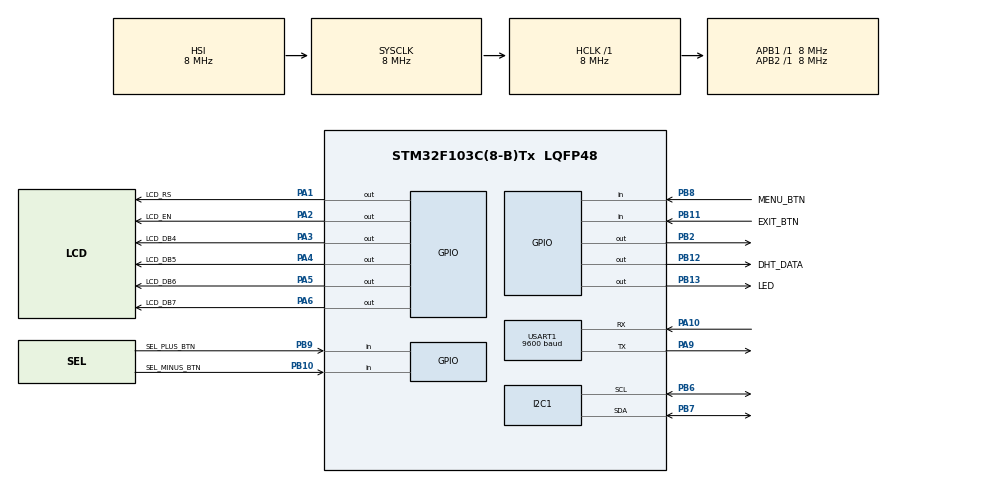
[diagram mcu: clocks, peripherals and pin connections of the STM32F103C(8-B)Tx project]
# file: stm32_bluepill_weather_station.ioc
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I2C1.I2C_Mode=I2C_Standard
I2C1.NoStretchMode=I2C_NOSTRETCH_DISABLE
Mcu.Family=STM32F1
Mcu.Name=STM32F103C(8-B)Tx
Mcu.Package=LQFP48
NVIC.PriorityGroup=NVIC_PRIORITYGROUP_4
PA1.GPIO_Label=LCD_RS
PA1.Signal=GPIO_Output
PA10.Mode=Asynchronous
PA10.Signal=USART1_RX
PA2.GPIO_Label=LCD_EN
PA2.Signal=GPIO_Output
PA3.GPIO_Label=LCD_DB4
PA3.Signal=GPIO_Output
PA4.GPIO_Label=LCD_DB5
PA4.Signal=GPIO_Output
PA5.GPIO_Label=LCD_DB6
PA5.Signal=GPIO_Output
PA6.GPIO_Label=LCD_DB7
PA6.Signal=GPIO_Output
PA9.Mode=Asynchronous
PA9.Signal=USART1_TX
PB10.GPIO_Label=SEL_MINUS_BTN
PB10.Signal=GPIO_Input
PB11.GPIO_Label=EXIT_BTN
PB11.Signal=GPIO_Input
PB12.GPIO_Label=DHT_DATA
PB12.Signal=GPIO_Output
PB13.GPIO_Label=LED
PB13.GPIO_ModeDefaultOutputPP=GPIO_MODE_OUTPUT_PP
PB13.GPIO_PuPd=GPIO_NOPULL
PB13.GPIO_Speed=GPIO_SPEED_FREQ_LOW
PB13.Signal=GPIO_Output
PB2.GPIO_Speed=GPIO_SPEED_FREQ_HIGH
PB2.Signal=GPIO_Output
PB6.Mode=I2C
PB6.Signal=I2C1_SCL
PB7.Mode=I2C
PB7.Signal=I2C1_SDA
PB8.GPIO_Label=MENU_BTN
PB8.GPIO_PuPd=GPIO_PULLDOWN
PB8.Signal=GPIO_Input
PB9.GPIO_Label=SEL_PLUS_BTN
PB9.GPIO_PuPd=GPIO_NOPULL
PB9.Signal=GPIO_Input
PD0-OSC_IN.Mode=HSE-External-Clock-Source
PD0-OSC_IN.Signal=RCC_OSC_IN
PD1-OSC_OUT.Mode=HSE-External-Clock-Source
PD1-OSC_OUT.Signal=RCC_OSC_OUT
ProjectManager.HeapSize=0x200
ProjectManager.StackSize=0x400
ProjectManager.TargetToolchain=STM32CubeIDE
RCC.AHBFreq_Value=8000000
RCC.APB1Freq_Value=8000000
RCC.APB1TimFreq_Value=8000000
RCC.APB2Freq_Value=8000000
RCC.APB2TimFreq_Value=8000000
RCC.HCLKFreq_Value=8000000
RCC.PLLMUL=RCC_PLL_MUL9
RCC.PLLSourceVirtual=RCC_PLLSOURCE_HSE
RCC.SYSCLKFreq_VALUE=8000000
RCC.USBFreq_Value=72000000
TIM1.Period=0xFFFF-1
TIM1.Prescaler=8-1
USART1.BaudRate=9600
USART1.VirtualMode=VM_ASYNC
VP_SYS_VS_ND.Mode=No_Debug
VP_TIM1_VS_ClockSourceINT.Mode=Internal
board=custom

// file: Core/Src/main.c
/* USER CODE BEGIN Header */
/**
  ******************************************************************************
  * @file           : main.c
  * @brief          : Main program body
  ******************************************************************************
  * @attention
  *
  * Copyright (c) 2024 STMicroelectronics.
  * All rights reserved.
  *
  * This software is licensed under terms that can be found in the LICENSE file
  * in the root directory of this software component.
  * If no LICENSE file comes with this software, it is provided AS-IS.
  *
  ******************************************************************************
  Цифрова метеостанція на мікроконтролері STM32F103C8T6, плата STM32 Blue Pill
  (Digital weather station based on STM32F103C8T6 microcontroller, STM32 Blue Pill board)
   */
/* USER CODE END Header */
#include "main.h"

/* USER CODE BEGIN Includes */
#include "lcd16x2.h"
#include "bmp180.h"
#include "dht.h"
#include "ds1307.h"
#include "stdio.h"
#include "stdlib.h"
#include "string.h"
/* USER CODE END Includes */

/* USER CODE BEGIN PD */
#define MENU_BTN_PIN 8
#define SEL_PLUS_BTN_PIN 9
#define SEL_MINUS_BTN_PIN 10
#define EXIT_BTN_PIN 11
#define INTERRUPT_PIN 8

const char *temp_units_1[] = {"\xb0\C", "\xb0\F", "K"};
const char *temp_units_2[] = {"\xdf\C", "\xdf\F", "K"};
const char *pres_units[] = {"mb", "mmHg", "inHg", "hPa"};
const char *days_of_week[7] = { "Sun", "Mon", "Tue", "Wed", "Thu", "Fri", "Sat" };

/* USER CODE END PD */

I2C_HandleTypeDef hi2c1;

TIM_HandleTypeDef htim1;

UART_HandleTypeDef huart1;

/* USER CODE BEGIN PV */
char buffer[200];
// створюємо значки температури, вологості і тиску для LCD
uint8_t temp_icon[] = { // lcd значок/іконка температури
  0x04, 0x0A, 0x0A, 0x0A, 0x0E, 0x1F, 0x1F, 0x0E
};

uint8_t smile_icon[] = {
  0x00, 0x0A, 0x0A, 0x00, 0x11, 0x0E, 0x00, 0x00
};

uint8_t clock_icon[] = {
  /*0x1F,
  0x15,
  0x0A,
  0x04,
  0x04,
  0x0A,
  0x15,
  0x1F*/
  0x1F, 0x15, 0x0A, 0x04, 0x0A, 0x15, 0x1F, 0x00
};
/* USER CODE END PV */

void SystemClock_Config(void);
static void MX_GPIO_Init(void);
static void MX_I2C1_Init(void);
static void MX_USART1_UART_Init(void);
static void MX_TIM1_Init(void);
/* USER CODE BEGIN PFP */
//bool isButtonPressed(int buttonPin);
void set_pressure_unit();
void set_temperature_unit();
void main_menu();

volatile bool main_menu_call = false;
int8_t pInd = 3, tInd = 0;

/* USER CODE END PFP */

/* USER CODE BEGIN 0 */
void delay_us(uint16_t us)
{
    htim1.Instance->CNT = 0;
    while (htim1.Instance->CNT < us);
}

void delay_ms(volatile uint16_t ms)
{
	while(ms > 0)
	{
		htim1.Instance->CNT = 0;
		ms--;
		while (htim1.Instance->CNT < 1000);
	}
}

// EXTI Line9 External Interrupt ISR Handler CallBackFun
void HAL_GPIO_EXTI_Callback(uint16_t GPIO_Pin)
{
    if (GPIO_Pin == GPIO_PIN_8) // If The INT Source Is EXTI Line9 (A9 Pin)
    {
    	HAL_GPIO_TogglePin(GPIOB, GPIO_PIN_13); // Toggle The Output (LED) Pin
    	//mainMenu();
    	//HAL_UART_Transmit(&huart1, "interrupt", 9, 10);
    	main_menu_call = true;
    	//HAL_NVIC_EnableIRQ(EXTI9_5_IRQn);
    	HAL_NVIC_DisableIRQ(EXTI9_5_IRQn);
    }
}

void set_time(void)
{
    //RTC_TimeTypeDef rtc_time;
    unsigned char i = 0, col = 2;
    const char *time_items[] = { "hh", "mm", "ss", "^^" };
    uint8_t hours = 0, minutes = 0, seconds = 0;
 	bool lcd_output_flag = true, ok = 0;

 	hours = ds1307_get_hour();
 	minutes = ds1307_get_minute();
 	seconds = ds1307_get_second();

    while (!ok)
    {
    	if (lcd_output_flag)
    	{
    		lcd16x2_clear();
    		lcd16x2_setCursor(0,2);
    		sprintf(buffer, "%02d:%02d:%02d OK", hours, minutes, seconds);
    	    lcd16x2_printf(buffer);
    	    lcd16x2_setCursor(1,col);
    	    lcd16x2_printf(time_items[i]);
    	    lcd_output_flag = false;
    	}

    	if (HAL_GPIO_ReadPin(SEL_PLUS_BTN_GPIO_Port, SEL_PLUS_BTN_Pin) == GPIO_PIN_SET)
    	{
    		switch (i)
			{
				case 0:
					if (hours == 23) hours = 0;
					else hours ++;
					break;
				case 1:
					if (minutes == 59) minutes = 0;
					else minutes ++;
				break;
				case 2:
					if (seconds == 59) seconds = 0;
					else seconds ++;
				break;
				case 3:
					ok = 1;
					break;
			}
			lcd_output_flag = true;
			HAL_Delay(200);
        }

    	if (HAL_GPIO_ReadPin(SEL_MINUS_BTN_GPIO_Port, SEL_MINUS_BTN_Pin) == GPIO_PIN_SET)
    	{
    		switch (i)
    		{
	       		case 0:
	        		if (hours == 0) hours = 23;
                    else hours --;
                    break;
                case 1:
                  	if (minutes == 0) minutes = 59;
                   	else minutes --;
                    	break;
                case 2:
                    if (seconds == 0) seconds = 59;
                    else seconds--;
                    break;
                case 3:
                    ok = 1;
                    break;
            }
	        lcd_output_flag = true;
	        HAL_Delay(200);
        }

    	if (HAL_GPIO_ReadPin(MENU_BTN_GPIO_Port, MENU_BTN_Pin) == GPIO_PIN_SET)
    	{
    		if (i == 3)
    		{
    		  i = 0; col = 2;
    		}
    		else
    		{
    			i++; col += 3;
    		}
    		lcd_output_flag = true;
    		HAL_Delay(200);
         }

         if (HAL_GPIO_ReadPin(EXIT_BTN_GPIO_Port, EXIT_BTN_Pin) == GPIO_PIN_SET)
         {
           HAL_Delay(200);
           return;
         }
    }

    ds1307_set_hour(hours);
    ds1307_set_minute(minutes);
    ds1307_set_second(seconds);
}

void set_date(void)
{
	//RTC_DateTypeDef rtc_date;
	const char *date_items[] = { "dd", "mm", "yy" , "wd", "^^"};
	uint8_t day = 0, month = 0, year = 0, dow = 0;
	uint8_t i = 0, col = 0;
	bool lcd_output_flag = true, ok = 0;

	day = ds1307_get_date();
	month = ds1307_get_month();
	year = ds1307_get_year();
	dow = ds1307_get_day_of_week()-1;

	while (!ok)
	{
		if (lcd_output_flag)
		{
			lcd16x2_clear();
			sprintf(buffer, "%02d/%02d/%02d %s OK", day, month, year, days_of_week[dow]);
			lcd16x2_setCursor(0,0);
			lcd16x2_printf(buffer);
			lcd16x2_setCursor(1,col);
			lcd16x2_printf(date_items[i]);
			lcd_output_flag = false;
		}

        if (HAL_GPIO_ReadPin(SEL_PLUS_BTN_GPIO_Port, SEL_PLUS_BTN_Pin) == GPIO_PIN_SET)
        {
           switch (i)
           {
              case 0:
            	  if (day == 31)
            		day = 1;
                  else day ++;
                  break;
              case 1:
                  if (month == 12) month = 1;
                  else month ++;
                  break;
              case 2:
                  if (year == 99) year = 0;
                  else year ++;
                  break;
              case 3:
            	  if (dow == 6) dow = 0;
            	  else dow ++;
            	  break;
              case 4:
            	  ok = 1; break;
           }
           lcd_output_flag = true;
           HAL_Delay(200);
        }

        if (HAL_GPIO_ReadPin(SEL_MINUS_BTN_GPIO_Port, SEL_MINUS_BTN_Pin) == GPIO_PIN_SET)
        {
        	switch (i)
        	{
        		case 0:
                   	if (day == 1) day = 31;
                    else day --;
                    break;
                case 1:
                    if (month == 1) month = 12;
                    else month --;
                    break;
                case 2:
                	if (year == 0) year = 99;
                	else year--;
                   	break;
                case 3:
                	if (dow == 0) dow = 6;
                	else dow --;
                	break;
                case 4: ok = 1; break;
        	}
        	lcd_output_flag = true;
        	HAL_Delay(200);
         }

        if (HAL_GPIO_ReadPin(MENU_BTN_GPIO_Port, MENU_BTN_Pin) == GPIO_PIN_SET)
        {
        	if (i == 4)
        	{
        		i = 0; col = 0;
        	}
        	else
        	{
        		if (i == 3) col += 4;
        	    else col += 3;
        		i++;
        	}
        	lcd_output_flag = true;
        	HAL_Delay(200);
     }

     if (HAL_GPIO_ReadPin(EXIT_BTN_GPIO_Port, EXIT_BTN_Pin) == GPIO_PIN_SET)
     {
    	 HAL_Delay(200);
    	 return;
     }

	}
	ds1307_set_date(day);
	ds1307_set_month(month);
	ds1307_set_year(2000+year);
	ds1307_set_day_of_week(dow+1);
}

void set_pressure_unit()
{

  const char pressure_units_menu_title[] = "PRESSURE UNITS";
  uint8_t col[] = {7, 6, 6, 6}; //{"mb", "mmHg", "inHg", "hPa"};
  uint8_t i = 0;
  bool lcd_output_flag = true;

  while(1)
  {
    if (lcd_output_flag)
    {
    	lcd16x2_clear();
    	lcd16x2_setCursor(0,1);
    	lcd16x2_printf(pressure_units_menu_title);
    	lcd16x2_setCursor(1,0);
    	lcd16x2_printf(">>");
    	lcd16x2_setCursor(1,14);
    	lcd16x2_printf("<<");
    	lcd16x2_setCursor(1,col[i]);
        lcd16x2_printf(pres_units[i]);
        lcd_output_flag = false;
    }
    if (HAL_GPIO_ReadPin(SEL_PLUS_BTN_GPIO_Port, SEL_PLUS_BTN_Pin) == GPIO_PIN_SET)
    {
      if (i == 3) i = 0;
      else i++;
      lcd_output_flag = true;
      HAL_Delay(200);
    }

    if (HAL_GPIO_ReadPin(SEL_MINUS_BTN_GPIO_Port, SEL_MINUS_BTN_Pin) == GPIO_PIN_SET)
    {
      if (i == 0) i = 3;
      else i--;
      lcd_output_flag = true;
      HAL_Delay(200);
    }

    if (HAL_GPIO_ReadPin(MENU_BTN_GPIO_Port, MENU_BTN_Pin) == GPIO_PIN_SET)
    {
      pInd = i;
      HAL_Delay(200);
      return;
    }
    if (HAL_GPIO_ReadPin(EXIT_BTN_GPIO_Port, EXIT_BTN_Pin) == GPIO_PIN_SET)
    {
      HAL_Delay(200);
      return;
    }
  }
}

void set_temperature_unit()
{

  const char temperature_units_menu_title[] = "TEMPERATURE UNIT";
  uint8_t i = 0;
  bool lcd_output_flag = true;

  while(1)
  {
    if (lcd_output_flag)
    {
      lcd16x2_clear();
      lcd16x2_setCursor(0,0);
      lcd16x2_printf(temperature_units_menu_title);
      lcd16x2_setCursor(1,0);
      lcd16x2_printf(">>");
      lcd16x2_setCursor(1,14);
      lcd16x2_printf("<<");
      lcd16x2_setCursor(1,7);
      lcd16x2_printf(temp_units_2[i]);
      lcd_output_flag = false;
    }
    if (HAL_GPIO_ReadPin(SEL_PLUS_BTN_GPIO_Port, SEL_PLUS_BTN_Pin) == GPIO_PIN_SET)
    {
      if (i == 2) i = 0;
      else i++;
      lcd_output_flag = true;
      HAL_Delay(200);
    }

    if (HAL_GPIO_ReadPin(SEL_MINUS_BTN_GPIO_Port, SEL_MINUS_BTN_Pin) == GPIO_PIN_SET)
    {
      if (i == 0) i = 2;
      else i--;
      lcd_output_flag = true;
      HAL_Delay(200);
    }

    if (HAL_GPIO_ReadPin(MENU_BTN_GPIO_Port, MENU_BTN_Pin) == GPIO_PIN_SET)
    {
      tInd = i;
      HAL_Delay(200);
      return;
    }

    if (HAL_GPIO_ReadPin(EXIT_BTN_GPIO_Port, EXIT_BTN_Pin) == GPIO_PIN_SET)
    {
      HAL_Delay(200);
      return;
    }
  }
}

void main_menu()
{
  char *main_menu_items[] = {"TEMPERATURE UNIT", " PRESSURE UNITS ", "    SET TIME    ", "    SET DATE    ", "      EXIT      "};
  char menu_title[] = "** MAIN MENU **";
  int i = 0;
  bool lcd_output_flag = false;

  lcd16x2_clear();
  lcd16x2_1stLine();
  lcd16x2_printf(menu_title);
  lcd16x2_2ndLine();
  lcd16x2_printf(main_menu_items[i]);

  while(1)
  {
    if (lcd_output_flag)
    {
	  lcd16x2_2ndLine();
	  lcd16x2_printf(main_menu_items[i]);
      lcd_output_flag = false;
    }
    if (HAL_GPIO_ReadPin(SEL_PLUS_BTN_GPIO_Port, SEL_PLUS_BTN_Pin) == GPIO_PIN_SET)
    {
      if(i == 4) i = 0;
      else i++;
      lcd_output_flag = true;
      HAL_Delay(200);
    }
    if (HAL_GPIO_ReadPin(SEL_MINUS_BTN_GPIO_Port, SEL_MINUS_BTN_Pin) == GPIO_PIN_SET)
    {
      if (i == 0) i = 4;
      else i--;
      lcd_output_flag = true;
      HAL_Delay(200);
    }
    if (HAL_GPIO_ReadPin(MENU_BTN_GPIO_Port, MENU_BTN_Pin) == GPIO_PIN_SET)
    {
      HAL_Delay(200);
      switch(i)
      {
        case 0: set_temperature_unit(); break;
        case 1: set_pressure_unit(); break;
        case 2: set_time(); break;
        case 3: set_date(); break;
        case 4: return;
        default: break;
      }
      lcd16x2_clear();
      lcd16x2_1stLine();
      lcd16x2_setCursor(0,0);
      lcd16x2_printf(menu_title);
      lcd16x2_2ndLine();
      lcd16x2_printf(main_menu_items[i]);
    }
    if (HAL_GPIO_ReadPin(EXIT_BTN_GPIO_Port, EXIT_BTN_Pin)== GPIO_PIN_SET)
    {
      HAL_Delay(200);
      return;
    }
  }
}

/* USER CODE END 0 */

int main(void)
{

  /* USER CODE BEGIN 1 */
  char title[] = "*** STM32 MCU BASED WEATHER STATION ***\r\n*** DEVELOPED BY IHOR BIZHYK, 2024 ***\r\n";
  float dht_temperature = 0.0f, dht_humidity = 0.0f;
  float bmp180_temperature = 0.0f;
  int32_t bmp180_pressure = 0;
  bool flag_weather_date = 0;
  /* Lookup table for the days of week. */
  const char *months[12] = {"Jan","Feb","Mar","Apr","May","Jun","Jul","Aug","Sep","Oct","Nov","Dec"};

  /* USER CODE END 1 */

  /* MCU Configuration--------------------------------------------------------*/

  /* Reset of all peripherals, Initializes the Flash interface and the Systick. */
  HAL_Init();

  /* Configure the system clock */
  SystemClock_Config();

  /* Initialize all configured peripherals */
  MX_GPIO_Init();
  MX_I2C1_Init();
  MX_USART1_UART_Init();
  MX_TIM1_Init();
  /* USER CODE BEGIN 2 */
  HAL_TIM_Base_Start(&htim1);
  lcd16x2_init_4bits(GPIOA, LCD_RS_Pin, LCD_EN_Pin,
        GPIOA, LCD_DB4_Pin, LCD_DB5_Pin, LCD_DB6_Pin, LCD_DB7_Pin);
  lcd16x2_custom_char(0, temp_icon);
  lcd16x2_custom_char(1, clock_icon);
  lcd16x2_custom_char(2, smile_icon);
  lcd16x2_cursorShow(false);
  lcd16x2_1stLine();
  lcd16x2_printf("STM32 MCU BASED");
  lcd16x2_2ndLine();
  lcd16x2_printf("WEATHER STATION");
  HAL_Delay(1000);
  lcd16x2_clear();
  lcd16x2_setCursor(0, 2);
  lcd16x2_printf("DEVELOPED BY");
  lcd16x2_setCursor(1, 0);
  lcd16x2_printf("IHOR BIZHYK 2024");
  HAL_Delay(1000);

  HAL_UART_Transmit(&huart1, (uint8_t *)title, strlen(title), 0xff);
  bmp180_init(&hi2c1);
  bmp180_set_oversampling(BMP180_STANDARD); //BMP180_ULTRA);
  //* Update calibration data. Must be called once before entering main loop. */
  bmp180_update_calibration_data();
  //
  dht_init(DHT_DATA_GPIO_Port, DHT_DATA_Pin, &htim1);
  /* Start DS1307 timing. Pass user I2C handle pointer to function. */
  ds1307_init(&hi2c1);
  ds1307_set_interrupt_rate(DS1307_1HZ);
  ds1307_set_enable_square_wave(DS1307_ENABLED);
  /* To test leap year correction. */
  /*ds1307_set_time_zone(+2, 00);
  ds1307_set_date(30);
  ds1307_set_month(4);
  ds1307_set_year(2024);
  ds1307_set_day_of_week(2);
  ds1307_set_hour(23);
  ds1307_set_minute(59);
  ds1307_set_second(30);*/
  /* USER CODE END 2 */

  /* Infinite loop */
  while (1)
  {

    /* USER CODE BEGIN 3 */
	HAL_GPIO_TogglePin(GPIOB, GPIO_PIN_13);
	if (!flag_weather_date)
	{
		/* отримуємо/визначаємо ціле значення температури з давача bmp180 */
		//bmp180_temperature = bmp180_get_raw_temperature();
		/* отримуємо/визначаємо дійсне значення температури з давача bmp180 */
		bmp180_temperature = bmp180_get_temperature();
		/* читаємо дані тиску з давача bmp180 */
		bmp180_pressure = bmp180_get_pressure();
		/* читаємо дані про вологість і температуру */
		dht_read(&dht_humidity, &dht_temperature);
		/* обчислюємо значення точки роси */
		float dew_point = dht_calc_dewpoint(&dht_humidity, &dht_temperature);

		switch (pInd)
		{
			/*case 0:
	      	  bmp180_pressure = bmp180_pressure;
	   	   	   break;*/
			case 1:
				bmp180_pressure = bmp180_pressure * 0.0295333727*25.399999705;
				break;
			case 2:
				bmp180_pressure = bmp180_pressure*0.0295333727;
				break;
		}

		switch (tInd)
		{
			case 1:
				bmp180_temperature = (9.0/5.0)*bmp180_temperature + 32.0;
				dht_temperature = (9.0/5.0)*dht_temperature + 32.0;
				dew_point = (9.0/5.0)*dew_point + 32.0;
				break;
			case 2:
				bmp180_temperature = bmp180_temperature + 274.15;
				dht_temperature = dht_temperature + 274.15;
				dew_point = dew_point + 274.15;
				break;
		}
		/*вивід у послідовний порт */
		sprintf(buffer, "BMP180: Temp = %.1f%s, Pres = %d %s\r\n", bmp180_temperature, temp_units_1[tInd], bmp180_pressure/100, pres_units[pInd]);
		HAL_UART_Transmit(&huart1, buffer, strlen(buffer), 0xff);
		HAL_UART_Transmit(&huart1, "DHT22: ", 7, 0xff);
		//sprintf(buffer, "Temp = %.1f\xb0\C ", dht_temperature);
		sprintf(buffer, "Temp = %.1f%s ", dht_temperature, temp_units_1[tInd]);
		HAL_UART_Transmit(&huart1, (uint8_t *)buffer, strlen(buffer), 0xff);
		sprintf(buffer, "Humi = %.1f%% ", dht_humidity);
		HAL_UART_Transmit(&huart1, (uint8_t *)buffer, strlen(buffer), 0xff);
		sprintf(buffer, "Dew Point = %.1f%s\r\n", dew_point, temp_units_1[tInd]);
		HAL_UART_Transmit(&huart1, (uint8_t *)buffer, strlen(buffer), 0xff);
		/* вивід на дисплей */
		lcd16x2_clear();
		lcd16x2_1stLine();
		lcd16x2_writeData((uint8_t)0);
		//sprintf(buffer, "%.1f\xdf\C %d hPa", bmp180_temperature, (int) bmp180_pressure / 100);
		//sprintf(buffer, "%.1f%s %d %s", bmp180_temperature, temp_units_2[tInd], (int) bmp180_pressure/100, pres_units[pInd]);
		sprintf(buffer, " %d%s %d %s", (int) bmp180_temperature, temp_units_2[tInd], (int) bmp180_pressure/100, pres_units[pInd]);
		lcd16x2_printf(buffer);
		lcd16x2_2ndLine();
		//sprintf(buffer, "%.1f%s %.1f", dht_temperature, temp_units_2[tInd], dht_humidity);
		sprintf(buffer, "%d%s %d", (int) dht_temperature, temp_units_2[tInd], (int) dht_humidity);
		lcd16x2_printf(buffer);
		lcd16x2_printf("%% ");
		sprintf(buffer, "DP:%d%s", (int) dew_point, temp_units_2[tInd]);
		lcd16x2_printf(buffer);
	} else {
		/* отримуємо з RTC DS1307 поточну дату і час */
		uint8_t date = ds1307_get_date();
		uint8_t month = ds1307_get_month();
		uint16_t year = ds1307_get_year();
		uint8_t dow = ds1307_get_day_of_week();
		uint8_t hour = ds1307_get_hour();
		uint8_t minute = ds1307_get_minute();
		uint8_t second = ds1307_get_second();
		int8_t zone_hr = ds1307_get_time_zone_hour();
		uint8_t zone_min = ds1307_get_time_zone_min();
		/* виводимо поточний час, день тижня, дату і назву місяця у послідовний порт */
		sprintf(buffer, "Date: %02d/%02d/%02d Time: %02d:%02d:%02d %s\r\n",
					date, month, year, hour, minute, second, days_of_week[dow-1]);
		HAL_UART_Transmit(&huart1, buffer, strlen(buffer), 1000);
		/* виводимо поточний час, день тижня, дату і назву місяця на дисплей */
		lcd16x2_clear();
		lcd16x2_1stLine();
		lcd16x2_writeData((uint8_t)2);
		sprintf(buffer, " %02d:%02d:%02d %s", hour, minute, second, days_of_week[dow-1]);
		lcd16x2_printf(buffer);
		lcd16x2_2ndLine();
		sprintf(buffer, "%02d/%02d/%d %s", date, month, year, months[month-1]);
		lcd16x2_printf(buffer);
	}

	if (HAL_GPIO_ReadPin(MENU_BTN_GPIO_Port, MENU_BTN_Pin) == GPIO_PIN_SET)
	{
	  //HAL_GPIO_WritePin(GPIOD, GPIO_PIN_12, GPIO_PIN_SET);
	  main_menu();
    }

	if (HAL_GPIO_ReadPin(EXIT_BTN_GPIO_Port, EXIT_BTN_Pin) == GPIO_PIN_SET)
	{
	  flag_weather_date = !flag_weather_date;
	}

    /*if (main_menu_call)
    {
	  HAL_NVIC_DisableIRQ(EXTI9_5_IRQn);
	  main_menu_call = false;
	  main_menu();
	  HAL_NVIC_EnableIRQ(EXTI9_5_IRQn);
    }*/
	HAL_Delay(700);
  }
  /* USER CODE END 3 */
}

void SystemClock_Config(void)
{
  RCC_OscInitTypeDef RCC_OscInitStruct = {0};
  RCC_ClkInitTypeDef RCC_ClkInitStruct = {0};

  /** Initializes the RCC Oscillators according to the specified parameters
  * in the RCC_OscInitTypeDef structure.
  */
  RCC_OscInitStruct.OscillatorType = RCC_OSCILLATORTYPE_HSI;
  RCC_OscInitStruct.HSIState = RCC_HSI_ON;
  RCC_OscInitStruct.HSICalibrationValue = RCC_HSICALIBRATION_DEFAULT;
  RCC_OscInitStruct.PLL.PLLState = RCC_PLL_NONE;
  if (HAL_RCC_OscConfig(&RCC_OscInitStruct) != HAL_OK)
  {
    Error_Handler();
  }

  /** Initializes the CPU, AHB and APB buses clocks
  */
  RCC_ClkInitStruct.ClockType = RCC_CLOCKTYPE_HCLK|RCC_CLOCKTYPE_SYSCLK
                              |RCC_CLOCKTYPE_PCLK1|RCC_CLOCKTYPE_PCLK2;
  RCC_ClkInitStruct.SYSCLKSource = RCC_SYSCLKSOURCE_HSI;
  RCC_ClkInitStruct.AHBCLKDivider = RCC_SYSCLK_DIV1;
  RCC_ClkInitStruct.APB1CLKDivider = RCC_HCLK_DIV1;
  RCC_ClkInitStruct.APB2CLKDivider = RCC_HCLK_DIV1;

  if (HAL_RCC_ClockConfig(&RCC_ClkInitStruct, FLASH_LATENCY_0) != HAL_OK)
  {
    Error_Handler();
  }
}

static void MX_I2C1_Init(void)
{

  hi2c1.Instance = I2C1;
  hi2c1.Init.ClockSpeed = 100000;
  hi2c1.Init.DutyCycle = I2C_DUTYCYCLE_2;
  hi2c1.Init.OwnAddress1 = 0;
  hi2c1.Init.AddressingMode = I2C_ADDRESSINGMODE_7BIT;
  hi2c1.Init.DualAddressMode = I2C_DUALADDRESS_DISABLE;
  hi2c1.Init.OwnAddress2 = 0;
  hi2c1.Init.GeneralCallMode = I2C_GENERALCALL_DISABLE;
  hi2c1.Init.NoStretchMode = I2C_NOSTRETCH_DISABLE;
  if (HAL_I2C_Init(&hi2c1) != HAL_OK)
  {
    Error_Handler();
  }

}

static void MX_TIM1_Init(void)
{

  TIM_ClockConfigTypeDef sClockSourceConfig = {0};
  TIM_MasterConfigTypeDef sMasterConfig = {0};

  htim1.Instance = TIM1;
  htim1.Init.Prescaler = 8-1;
  htim1.Init.CounterMode = TIM_COUNTERMODE_UP;
  htim1.Init.Period = 0xFFFF-1;
  htim1.Init.ClockDivision = TIM_CLOCKDIVISION_DIV1;
  htim1.Init.RepetitionCounter = 0;
  htim1.Init.AutoReloadPreload = TIM_AUTORELOAD_PRELOAD_DISABLE;
  if (HAL_TIM_Base_Init(&htim1) != HAL_OK)
  {
    Error_Handler();
  }
  sClockSourceConfig.ClockSource = TIM_CLOCKSOURCE_INTERNAL;
  if (HAL_TIM_ConfigClockSource(&htim1, &sClockSourceConfig) != HAL_OK)
  {
    Error_Handler();
  }
  sMasterConfig.MasterOutputTrigger = TIM_TRGO_RESET;
  sMasterConfig.MasterSlaveMode = TIM_MASTERSLAVEMODE_DISABLE;
  if (HAL_TIMEx_MasterConfigSynchronization(&htim1, &sMasterConfig) != HAL_OK)
  {
    Error_Handler();
  }

}

static void MX_USART1_UART_Init(void)
{

  huart1.Instance = USART1;
  huart1.Init.BaudRate = 9600;
  huart1.Init.WordLength = UART_WORDLENGTH_8B;
  huart1.Init.StopBits = UART_STOPBITS_1;
  huart1.Init.Parity = UART_PARITY_NONE;
  huart1.Init.Mode = UART_MODE_TX_RX;
  huart1.Init.HwFlowCtl = UART_HWCONTROL_NONE;
  huart1.Init.OverSampling = UART_OVERSAMPLING_16;
  if (HAL_UART_Init(&huart1) != HAL_OK)
  {
    Error_Handler();
  }

}

static void MX_GPIO_Init(void)
{
  GPIO_InitTypeDef GPIO_InitStruct = {0};

  /* GPIO Ports Clock Enable */
  __HAL_RCC_GPIOD_CLK_ENABLE();
  __HAL_RCC_GPIOA_CLK_ENABLE();
  __HAL_RCC_GPIOB_CLK_ENABLE();

  /*Configure GPIO pin Output Level */
  HAL_GPIO_WritePin(GPIOA, LCD_RS_Pin|LCD_EN_Pin|LCD_DB4_Pin|LCD_DB5_Pin
                          |LCD_DB6_Pin|LCD_DB7_Pin, GPIO_PIN_RESET);

  /*Configure GPIO pin Output Level */
  HAL_GPIO_WritePin(GPIOB, GPIO_PIN_2|DHT_DATA_Pin|LED_Pin, GPIO_PIN_RESET);

  /*Configure GPIO pins : LCD_RS_Pin LCD_EN_Pin LCD_DB4_Pin LCD_DB5_Pin
                           LCD_DB6_Pin LCD_DB7_Pin */
  GPIO_InitStruct.Pin = LCD_RS_Pin|LCD_EN_Pin|LCD_DB4_Pin|LCD_DB5_Pin
                          |LCD_DB6_Pin|LCD_DB7_Pin;
  GPIO_InitStruct.Mode = GPIO_MODE_OUTPUT_PP;
  GPIO_InitStruct.Pull = GPIO_NOPULL;
  GPIO_InitStruct.Speed = GPIO_SPEED_FREQ_LOW;
  HAL_GPIO_Init(GPIOA, &GPIO_InitStruct);

  /*Configure GPIO pin : PB2 */
  GPIO_InitStruct.Pin = GPIO_PIN_2;
  GPIO_InitStruct.Mode = GPIO_MODE_OUTPUT_PP;
  GPIO_InitStruct.Pull = GPIO_NOPULL;
  GPIO_InitStruct.Speed = GPIO_SPEED_FREQ_HIGH;
  HAL_GPIO_Init(GPIOB, &GPIO_InitStruct);

  /*Configure GPIO pins : SEL_MINUS_BTN_Pin EXIT_BTN_Pin SEL_PLUS_BTN_Pin */
  GPIO_InitStruct.Pin = SEL_MINUS_BTN_Pin|EXIT_BTN_Pin|SEL_PLUS_BTN_Pin;
  GPIO_InitStruct.Mode = GPIO_MODE_INPUT;
  GPIO_InitStruct.Pull = GPIO_NOPULL;
  HAL_GPIO_Init(GPIOB, &GPIO_InitStruct);

  /*Configure GPIO pins : DHT_DATA_Pin LED_Pin */
  GPIO_InitStruct.Pin = DHT_DATA_Pin|LED_Pin;
  GPIO_InitStruct.Mode = GPIO_MODE_OUTPUT_PP;
  GPIO_InitStruct.Pull = GPIO_NOPULL;
  GPIO_InitStruct.Speed = GPIO_SPEED_FREQ_LOW;
  HAL_GPIO_Init(GPIOB, &GPIO_InitStruct);

  /*Configure GPIO pin : MENU_BTN_Pin */
  GPIO_InitStruct.Pin = MENU_BTN_Pin;
  GPIO_InitStruct.Mode = GPIO_MODE_INPUT;
  GPIO_InitStruct.Pull = GPIO_PULLDOWN;
  HAL_GPIO_Init(MENU_BTN_GPIO_Port, &GPIO_InitStruct);

}

void Error_Handler(void)
{
  __disable_irq();
  while (1)
  {
  }
}
